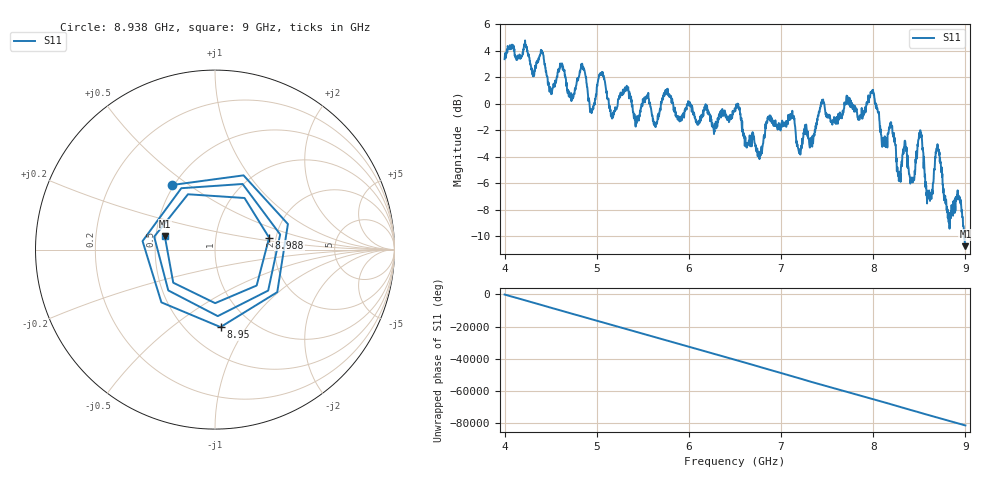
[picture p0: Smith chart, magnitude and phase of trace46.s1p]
! Created with skrf 1.8.0 (http://scikit-rf.org).
# Hz S RI R 50.0
!freq ReS11 ImS11
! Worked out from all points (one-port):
!   1601 points, 4 GHz to 9 GHz, reference 50 ohm
!   lowest |S11| = -10.8 dB at 9 GHz (marker M1), VSWR 1.82, Z = 27.9 + j4.61 ohm
!   |S11| at or under -10 dB: 8.986649 GHz to end of sweep
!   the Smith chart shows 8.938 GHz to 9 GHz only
!   S11 on the Smith chart (normalised r, x): 8.938 GHz: 0.49, +0.43; 8.95 GHz: 0.72, -0.77; 8.988 GHz: 1.84, +0.27; 9 GHz: 0.56, +0.09
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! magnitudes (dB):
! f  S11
! 4 GHz  3.3
! 4.506 GHz  0.7
! 4.625 GHz  3.0
! 4.722 GHz  0.8
! 4.85 GHz  2.8
! 4.947 GHz  -0.5
! 5.047 GHz  2.2
! 5.159 GHz  -1.0
! 5.25 GHz  0.5
! 5.875 GHz  -1.1
! 6.5 GHz  -0.5
! 6.759 GHz  -4.0
! 7.125 GHz  -0.8
! 7.2 GHz  -3.5
! 7.444 GHz  0.3
! 7.75 GHz  0.3
! 7.991 GHz  1.0
! 8.275 GHz  -5.2
! 8.375 GHz  -4.9
! 8.428 GHz  -5.9
! 8.506 GHz  -2.3
! 8.603 GHz  -7.0
! 8.697 GHz  -3.1
! 8.819 GHz  -8.9
! 8.938 GHz  -7.3
! 8.95 GHz  -7.3
! 8.988 GHz  -10.2
! 9 GHz  -10.8
